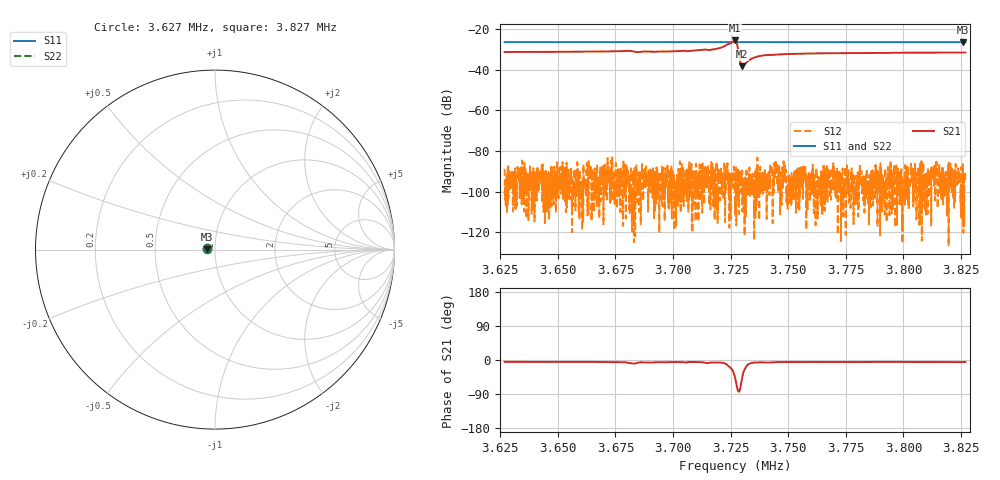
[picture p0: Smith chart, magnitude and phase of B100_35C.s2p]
# Hz S dB R 50.000
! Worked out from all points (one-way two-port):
!   6401 points, 3.627 MHz to 3.827 MHz, reference 50 ohm
!   highest |S21| = -25.68 dB at 3.727 MHz (marker M1); lowest = -38.4 dB at 3.73 MHz (marker M2)
!   lowest |S11| = -26.6 dB at 3.826 MHz (marker M3), VSWR 1.10, Z = 45.5 + j0.243 ohm
!   |S11| at or under -10 dB: start of sweep to end of sweep
!   |S22| runs from -26.6 to -26.5 dB; largest |S21 - S12| = 0.052
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3626875  -26.50 175.0  -31.34 -4.9  -88.85 104.2  -26.53 170.0
3660219  -26.51 175.3  -31.20 -5.2  -95.62 -34.5  -26.55 170.3
3680281  -26.51 175.5  -30.76 -6.9  -95.15 47.6  -26.56 170.5
3684469  -26.51 175.6  -31.44 -7.4  -95.42 4.3  -26.57 170.6
3693562  -26.51 175.6  -31.16 -5.8  -91.39 50.3  -26.57 170.6
3716469  -26.52 175.8  -30.27 -6.7  -91.17 -22.7  -26.58 170.9
3720844  -26.52 175.9  -29.20 -7.0  -91.39 88.9  -26.58 170.8
3726219  -26.52 175.9  -26.06 -32.6  -96.51 54.3  -26.58 170.9
3726875  -26.52 175.9  -25.68 -46.0  -97.97 -13.4  -26.58 170.9
3727281  -26.52 175.9  -26.00 -58.0  -90.09 -55.8  -26.58 171.0
3727688  -26.52 175.9  -27.18 -70.3  -98.49 73.4  -26.58 171.0
3729219  -26.53 176.0  -36.41 -72.7  -91.00 137.0  -26.59 171.0
3729625  -26.53 175.9  -37.90 -59.6  -93.33 -0.8  -26.58 171.0
3730000  -26.52 176.0  -38.40 -46.5  -89.55 25.9  -26.59 171.0
3730719  -26.52 175.9  -37.81 -29.1  -108.37 -168.0  -26.59 171.0
3733031  -26.53 176.0  -35.37 -9.9  -92.01 -17.2  -26.59 171.0
3734531  -26.52 176.0  -34.36 -7.3  -91.11 -1.7  -26.59 171.0
3738562  -26.53 176.0  -33.12 -6.1  -99.48 -22.6  -26.59 171.1
3760219  -26.53 176.2  -32.06 -5.2  -94.10 -14.1  -26.60 171.2
3793562  -26.54 176.4  -31.77 -4.9  -93.78 2.2  -26.61 171.5
3825938  -26.56 176.8  -31.63 -5.4  -104.31 -111.0  -26.63 171.8
3826875  -26.55 176.8  -31.62 -5.4  -95.27 47.7  -26.64 171.8
